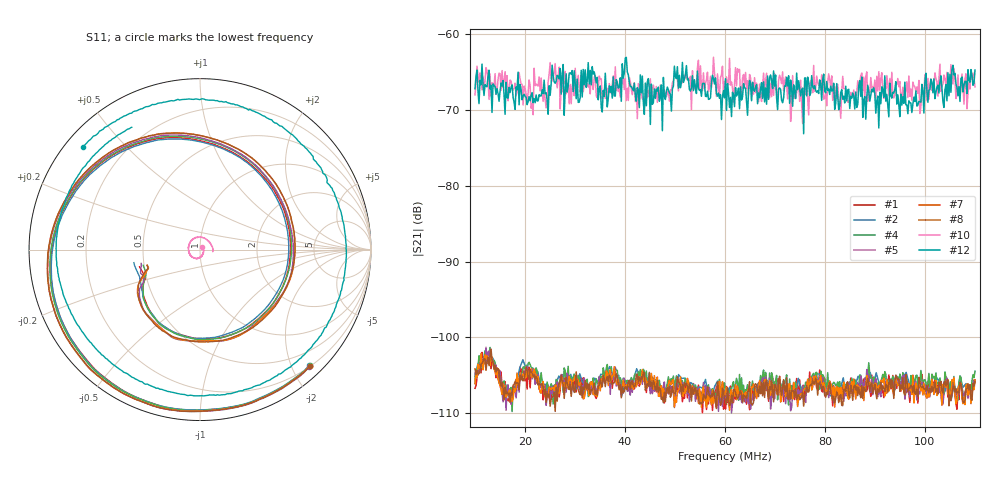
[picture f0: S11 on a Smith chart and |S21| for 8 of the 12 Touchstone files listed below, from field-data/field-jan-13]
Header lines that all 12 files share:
! Anritsu VNA Master:  Model: MS2034B/10/19/501
! SN:  1337062
! Existing Calibration Information:
! TYPE:  Current Settings,  Active Cal Settings
! START FREQ:  10.000 MHz,  10.000 MHz
! STOP FREQ:  110.000 MHz,  110.000 MHz
! REF PLANE 1:  0 mm,  0 mm
! REF PLANE 2:  0 mm,  0 mm
! CAL METHOD:  SOLT,  SOLT
! CAL LINE TYPE:  Coax,  Coax
! DUT PORT 1:  K-Conn(M),  K-Conn(M)
! DUT PORT 2:  N-Conn(M),  N-Conn(M)
! CAL STATUS:  OK: Accuracy High,  --
# GHZ S DB R 50.0
! FREQ.GHZ  S11DB  S11A  S21DB  S21A  S12DB  S12A  S22DB  S22A
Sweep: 10 MHz to 110 MHz
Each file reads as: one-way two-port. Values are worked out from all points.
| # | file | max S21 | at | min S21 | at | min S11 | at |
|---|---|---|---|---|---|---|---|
| 1 | vna-ant252-a1-s11.s2p | -101.99 dB | 11.4 MHz | -109.9 dB | 55.49 MHz | -8.9 dB | 105.8 MHz |
| 2 | vna-ant252v2-a2-s11.s2p | -102.68 dB | 12.99 MHz | -108.6 dB | 61.5 MHz | -8.2 dB | 102.8 MHz |
| 3 | vna-ant253v3-z1-s11.s2p | -101.91 dB | 12.81 MHz | -109.1 dB | 64.71 MHz | -8.4 dB | 106.8 MHz |
| 4 | vna-ant253v3-z2-s11.s2p | -101.33 dB | 13.01 MHz | -109.8 dB | 17.41 MHz | -9.3 dB | 106.6 MHz |
| 5 | vna-ant254-c1-s11.s2p | -101.32 dB | 12.2 MHz | -110.0 dB | 61.3 MHz | -9.0 dB | 110 MHz |
| 6 | vna-ant254-c2-s11-2.s2p | -102.37 dB | 12.4 MHz | -109.6 dB | 64.71 MHz | -9.9 dB | 108 MHz |
| 7 | vna-ant254-c2-s11.s2p | -102.13 dB | 11.2 MHz | -109.6 dB | 60.9 MHz | -9.9 dB | 108.2 MHz |
| 8 | vna-ant254-d2-s11-2.s2p | -101.54 dB | 13.21 MHz | -109.8 dB | 26.03 MHz | -9.8 dB | 108.2 MHz |
| 9 | vna-ant254-d2-s11.s2p | -102.41 dB | 11.8 MHz | -109.7 dB | 49.88 MHz | -9.9 dB | 108 MHz |
| 10 | vna-b1-s11-with-loads1-j9-j10.s2p | -63.03 dB | 57.7 MHz | -71.8 dB | 75.53 MHz | -35.9 dB | 11 MHz |
| 11 | vna-b1-s11-with-loads2-j9-j10.s2p | -63.10 dB | 57.29 MHz | -72.9 dB | 74.53 MHz | -35.8 dB | 16.81 MHz |
| 12 | vna-b1-s11-with-shorts-j9-j10.s2p | -63.05 dB | 40.26 MHz | -73.1 dB | 75.73 MHz | -1.7 dB | 109.6 MHz |
